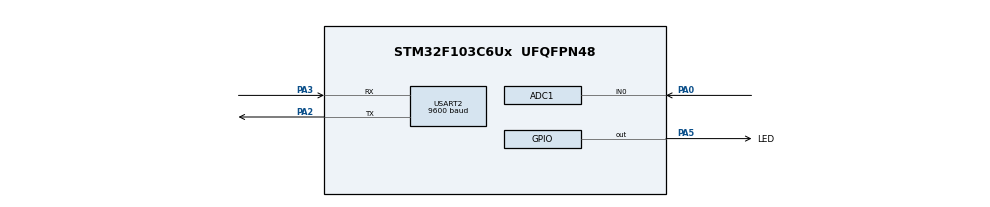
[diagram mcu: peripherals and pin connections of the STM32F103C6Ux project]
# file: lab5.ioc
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ADC1.Channel-0\#ChannelRegularConversion=ADC_CHANNEL_0
ADC1.ContinuousConvMode=ENABLE
ADC1.NbrOfConversionFlag=1
ADC1.Rank-0\#ChannelRegularConversion=1
ADC1.SamplingTime-0\#ChannelRegularConversion=ADC_SAMPLETIME_1CYCLE_5
ADC1.master=1
Mcu.Family=STM32F1
Mcu.Name=STM32F103C6Ux
Mcu.Package=UFQFPN48
NVIC.PriorityGroup=NVIC_PRIORITYGROUP_4
NVIC.TIM2_IRQn=true\:0\:0\:false\:false\:true\:true\:true\:true
NVIC.USART2_IRQn=true\:0\:0\:false\:false\:true\:true\:true\:true
PA0-WKUP.Signal=ADCx_IN0
PA2.Mode=Asynchronous
PA2.Signal=USART2_TX
PA3.Mode=Asynchronous
PA3.Signal=USART2_RX
PA5.GPIO_Label=LED
PA5.Signal=GPIO_Output
ProjectManager.HeapSize=0x200
ProjectManager.StackSize=0x400
ProjectManager.TargetToolchain=STM32CubeIDE
RCC.APB1Freq_Value=8000000
RCC.APB2Freq_Value=8000000
SH.ADCx_IN0.0=ADC1_IN0,IN0
TIM2.Period=9
TIM2.Prescaler=7999
USART2.BaudRate=9600
USART2.VirtualMode=VM_ASYNC
VP_TIM2_VS_ClockSourceINT.Mode=Internal
board=custom

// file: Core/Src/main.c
/* USER CODE BEGIN Header */
/**
 ******************************************************************************
 * @file           : main.c
 * @brief          : Main program body
 ******************************************************************************
 * @attention
 *
 * Copyright (c) 2024 STMicroelectronics.
 * All rights reserved.
 *
 * This software is licensed under terms that can be found in the LICENSE file
 * in the root directory of this software component.
 * If no LICENSE file comes with this software, it is provided AS-IS.
 *
 ******************************************************************************
 */
/* USER CODE END Header */
#include "main.h"

/* USER CODE BEGIN Includes */
#include "global.h"
/* USER CODE END Includes */

ADC_HandleTypeDef hadc1;

TIM_HandleTypeDef htim2;

UART_HandleTypeDef huart2;

void SystemClock_Config(void);
static void MX_GPIO_Init(void);
static void MX_ADC1_Init(void);
static void MX_USART2_UART_Init(void);
static void MX_TIM2_Init(void);

/* USER CODE BEGIN 0 */
void HAL_UART_RxCpltCallback(UART_HandleTypeDef *huart)
{
  if (huart->Instance == USART2)
  {
    buffer[index_buffer++] = temp;
    if (index_buffer == MAX_BUFFER_SIZE)
    {
      index_buffer = 0;
    }
    buffer_flag = 1;
    HAL_UART_Transmit(&huart2, &temp, 1, 50);
    HAL_UART_Receive_IT(&huart2, &temp, 1);
  }
}
/* USER CODE END 0 */

int main(void)
{

  /* MCU Configuration--------------------------------------------------------*/

  /* Reset of all peripherals, Initializes the Flash interface and the Systick. */
  HAL_Init();

  /* Configure the system clock */
  SystemClock_Config();

  /* Initialize all configured peripherals */
  MX_GPIO_Init();
  MX_ADC1_Init();
  MX_USART2_UART_Init();
  MX_TIM2_Init();
  /* USER CODE BEGIN 2 */
  HAL_TIM_Base_Start_IT(&htim2);
  HAL_UART_Receive_IT(&huart2, &temp, 1);
  /* USER CODE END 2 */

  /* Infinite loop */
  /* USER CODE BEGIN WHILE */
  setTimer(0, 50);
  clearTimer(1);
  while (1)
  {
    /* USER CODE END WHILE */

    /* USER CODE BEGIN 3 */

//	HAL_GPIO_WritePin(LED_GPIO_Port, LED_Pin, 1);

    if (isTimerExpired(0))
    {
      HAL_GPIO_TogglePin(LED_GPIO_Port, LED_Pin);
      setTimer(0, 50);
    }
    if (buffer_flag == 1)
    {
      command_parser_fsm(huart2);
      buffer_flag = 0;
    }
    // uart_communiation_fsm function
    uart_communiation_fsm(hadc1, huart2);
  }
  /* USER CODE END 3 */
}

void SystemClock_Config(void)
{
  RCC_OscInitTypeDef RCC_OscInitStruct = {0};
  RCC_ClkInitTypeDef RCC_ClkInitStruct = {0};
  RCC_PeriphCLKInitTypeDef PeriphClkInit = {0};

  /** Initializes the RCC Oscillators according to the specified parameters
  * in the RCC_OscInitTypeDef structure.
  */
  RCC_OscInitStruct.OscillatorType = RCC_OSCILLATORTYPE_HSI;
  RCC_OscInitStruct.HSIState = RCC_HSI_ON;
  RCC_OscInitStruct.HSICalibrationValue = RCC_HSICALIBRATION_DEFAULT;
  RCC_OscInitStruct.PLL.PLLState = RCC_PLL_NONE;
  if (HAL_RCC_OscConfig(&RCC_OscInitStruct) != HAL_OK)
  {
    Error_Handler();
  }

  /** Initializes the CPU, AHB and APB buses clocks
  */
  RCC_ClkInitStruct.ClockType = RCC_CLOCKTYPE_HCLK|RCC_CLOCKTYPE_SYSCLK
                              |RCC_CLOCKTYPE_PCLK1|RCC_CLOCKTYPE_PCLK2;
  RCC_ClkInitStruct.SYSCLKSource = RCC_SYSCLKSOURCE_HSI;
  RCC_ClkInitStruct.AHBCLKDivider = RCC_SYSCLK_DIV1;
  RCC_ClkInitStruct.APB1CLKDivider = RCC_HCLK_DIV1;
  RCC_ClkInitStruct.APB2CLKDivider = RCC_HCLK_DIV1;

  if (HAL_RCC_ClockConfig(&RCC_ClkInitStruct, FLASH_LATENCY_0) != HAL_OK)
  {
    Error_Handler();
  }
  PeriphClkInit.PeriphClockSelection = RCC_PERIPHCLK_ADC;
  PeriphClkInit.AdcClockSelection = RCC_ADCPCLK2_DIV2;
  if (HAL_RCCEx_PeriphCLKConfig(&PeriphClkInit) != HAL_OK)
  {
    Error_Handler();
  }
}

static void MX_ADC1_Init(void)
{

  ADC_ChannelConfTypeDef sConfig = {0};

  /** Common config
  */
  hadc1.Instance = ADC1;
  hadc1.Init.ScanConvMode = ADC_SCAN_DISABLE;
  hadc1.Init.ContinuousConvMode = ENABLE;
  hadc1.Init.DiscontinuousConvMode = DISABLE;
  hadc1.Init.ExternalTrigConv = ADC_SOFTWARE_START;
  hadc1.Init.DataAlign = ADC_DATAALIGN_RIGHT;
  hadc1.Init.NbrOfConversion = 1;
  if (HAL_ADC_Init(&hadc1) != HAL_OK)
  {
    Error_Handler();
  }

  /** Configure Regular Channel
  */
  sConfig.Channel = ADC_CHANNEL_0;
  sConfig.Rank = ADC_REGULAR_RANK_1;
  sConfig.SamplingTime = ADC_SAMPLETIME_1CYCLE_5;
  if (HAL_ADC_ConfigChannel(&hadc1, &sConfig) != HAL_OK)
  {
    Error_Handler();
  }

}

static void MX_TIM2_Init(void)
{

  TIM_ClockConfigTypeDef sClockSourceConfig = {0};
  TIM_MasterConfigTypeDef sMasterConfig = {0};

  htim2.Instance = TIM2;
  htim2.Init.Prescaler = 7999;
  htim2.Init.CounterMode = TIM_COUNTERMODE_UP;
  htim2.Init.Period = 9;
  htim2.Init.ClockDivision = TIM_CLOCKDIVISION_DIV1;
  htim2.Init.AutoReloadPreload = TIM_AUTORELOAD_PRELOAD_DISABLE;
  if (HAL_TIM_Base_Init(&htim2) != HAL_OK)
  {
    Error_Handler();
  }
  sClockSourceConfig.ClockSource = TIM_CLOCKSOURCE_INTERNAL;
  if (HAL_TIM_ConfigClockSource(&htim2, &sClockSourceConfig) != HAL_OK)
  {
    Error_Handler();
  }
  sMasterConfig.MasterOutputTrigger = TIM_TRGO_RESET;
  sMasterConfig.MasterSlaveMode = TIM_MASTERSLAVEMODE_DISABLE;
  if (HAL_TIMEx_MasterConfigSynchronization(&htim2, &sMasterConfig) != HAL_OK)
  {
    Error_Handler();
  }

}

static void MX_USART2_UART_Init(void)
{

  huart2.Instance = USART2;
  huart2.Init.BaudRate = 9600;
  huart2.Init.WordLength = UART_WORDLENGTH_8B;
  huart2.Init.StopBits = UART_STOPBITS_1;
  huart2.Init.Parity = UART_PARITY_NONE;
  huart2.Init.Mode = UART_MODE_TX_RX;
  huart2.Init.HwFlowCtl = UART_HWCONTROL_NONE;
  huart2.Init.OverSampling = UART_OVERSAMPLING_16;
  if (HAL_UART_Init(&huart2) != HAL_OK)
  {
    Error_Handler();
  }

}

static void MX_GPIO_Init(void)
{
  GPIO_InitTypeDef GPIO_InitStruct = {0};

  /* GPIO Ports Clock Enable */
  __HAL_RCC_GPIOA_CLK_ENABLE();

  /*Configure GPIO pin Output Level */
  HAL_GPIO_WritePin(LED_GPIO_Port, LED_Pin, GPIO_PIN_RESET);

  /*Configure GPIO pin : LED_Pin */
  GPIO_InitStruct.Pin = LED_Pin;
  GPIO_InitStruct.Mode = GPIO_MODE_OUTPUT_PP;
  GPIO_InitStruct.Pull = GPIO_NOPULL;
  GPIO_InitStruct.Speed = GPIO_SPEED_FREQ_LOW;
  HAL_GPIO_Init(LED_GPIO_Port, &GPIO_InitStruct);

}

/* USER CODE BEGIN 4 */
void HAL_TIM_PeriodElapsedCallback(TIM_HandleTypeDef *htim)
{
  if (htim->Instance == TIM2)
  {
    updateTimer();
  }
}
/* USER CODE END 4 */

void Error_Handler(void)
{
  __disable_irq();
  while (1)
  {
  }
}
